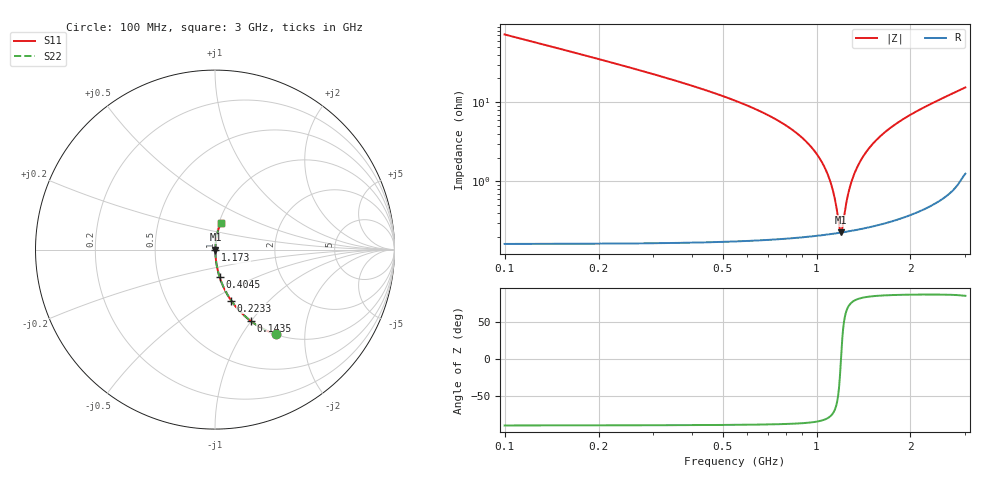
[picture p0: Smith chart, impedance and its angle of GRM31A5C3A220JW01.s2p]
!Murata Part Number: GRM31A5C3A220JW01
!These Parameters are Measured in Series Mode Connection
!Data Generated on Mar 30, 2021
!  o--ll--o
!Port1  Port2
!  o------o
!Operation Temp=25[degC], DC Bias Voltage=0[V]
!Freq. Start=100[MHz] Stop=3[GHz] 401[Steps]
# Hz S RI R 50
!Freq.(Hz) S11(Real) S11(Imag) S21(Real) S21(Imag) S12(Real) S12(Imag) S22(Real) S22(Imag)
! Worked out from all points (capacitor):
!   401 points, 100 MHz to 3 GHz, reference 50 ohm
!   read as one part in series: C = 22 pF near 114.5 MHz
!   lowest |Z| = 228 mohm at 1.195 GHz (marker M1)
!   series resonance near 1.198 GHz, so ESL is about 800 pH
!   S11 on the Smith chart (normalised r, x): 100 MHz: 1.00, -1.44; 143.5 MHz: 1.00, -0.99; 223.2 MHz: 1.00, -0.63; 404.5 MHz: 1.00, -0.32; 1.173 GHz: 1.00, -0.01; 3 GHz: 1.03, +0.31
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1e8  0.3408 -0.4729  0.6592 0.4729  0.6592 0.4729  0.3408 -0.4729
1.435e8  0.1989 -0.3975  0.8011 0.3975  0.8011 0.3975  0.1989 -0.3975
2.2325e8  0.0905 -0.2842  0.9095 0.2842  0.9095 0.2842  0.0905 -0.2842
4.045e8  0.0262 -0.1544  0.9738 0.1544  0.9738 0.1544  0.0262 -0.1544
5.8575e8  0.0106 -0.0933  0.9894 0.0933  0.9894 0.0933  0.0106 -0.0933
8.975e8  0.00324 -0.0356  0.9968 0.0356  0.9968 0.0356  0.00324 -0.0356
9.99e8  0.00255 -0.0223  0.9975 0.0223  0.9975 0.0223  0.00255 -0.0223
1.0715e9  0.00231 -0.0137  0.9977 0.0137  0.9977 0.0137  0.00231 -0.0137
1.1295e9  0.00223 -0.0072  0.9978 0.0072  0.9978 0.0072  0.00223 -0.0072
1.173e9  0.00223 -0.00256  0.9978 0.00256  0.9978 0.00256  0.00223 -0.00256
1.1875e9  0.00224 -0.00105  0.9978 0.00105  0.9978 0.00105  0.00224 -0.00105
1.19475e9  0.00225 -0.0003  0.9977 0.0003  0.9977 0.0003  0.00225 -0.0003
1.20925e9  0.00227 0.00119  0.9977 -0.00119  0.9977 -0.00119  0.00227 0.00119
1.2455e9  0.00233 0.00483  0.9977 -0.00483  0.9977 -0.00483  0.00233 0.00483
1.26725e9  0.00239 0.00698  0.9976 -0.00698  0.9976 -0.00698  0.00239 0.00698
1.32525e9  0.00257 0.0126  0.9974 -0.0126  0.9974 -0.0126  0.00257 0.0126
1.4195e9  0.003 0.0212  0.997 -0.0212  0.997 -0.0212  0.003 0.0212
1.55e9  0.00382 0.0326  0.9962 -0.0326  0.9962 -0.0326  0.00382 0.0326
1.753e9  0.00558 0.0493  0.9944 -0.0493  0.9944 -0.0493  0.00558 0.0493
2.03575e9  0.00899 0.0714  0.991 -0.0714  0.991 -0.0714  0.00899 0.0714
2.5215e9  0.0179 0.1087  0.9821 -0.1087  0.9821 -0.1087  0.0179 0.1087
3e9  0.0345 0.1462  0.9655 -0.1462  0.9655 -0.1462  0.0345 0.1462
